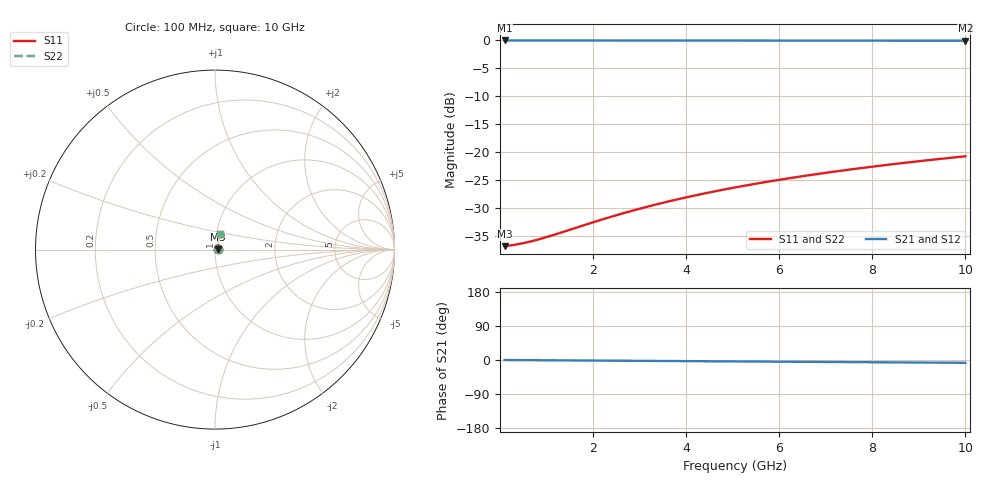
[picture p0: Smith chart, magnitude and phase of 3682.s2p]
# Hz S RI R 50.00
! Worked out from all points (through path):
!   100 points, 100 MHz to 10 GHz, reference 50 ohm
!   highest |S21| = -0.13 dB at 100 MHz (marker M1); lowest = -0.2 dB at 10 GHz (marker M2)
!   group delay of S21, straight-line fit = 2.06 ps
!   lowest |S11| = -36.9 dB at 100 MHz (marker M3), VSWR 1.03, Z = 51.5 + j0.0909 ohm
!   |S11| at or under -10 dB: start of sweep to end of sweep
!   |S22| runs from -36.9 to -20.8 dB; largest |S21 - S12| = 0
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1e8  0.0143 0.000883  0.9857 -0.00128  0.9857 -0.00128  0.0143 0.000883
3e8  0.0145 0.00265  0.9855 -0.00383  0.9855 -0.00383  0.0145 0.00265
4e8  0.0145 0.00353  0.9855 -0.00511  0.9855 -0.00511  0.0145 0.00353
6e8  0.0147 0.0053  0.9853 -0.00766  0.9853 -0.00766  0.0147 0.0053
8e8  0.0148 0.00706  0.9852 -0.0102  0.9852 -0.0102  0.0148 0.00706
1.2e9  0.015 0.0106  0.985 -0.0153  0.985 -0.0153  0.015 0.0106
1.8e9  0.0153 0.0159  0.9847 -0.023  0.9847 -0.023  0.0153 0.0159
2.2e9  0.0155 0.0194  0.9844 -0.0281  0.9844 -0.0281  0.0155 0.0194
2.6e9  0.0158 0.0229  0.9841 -0.0332  0.9841 -0.0332  0.0158 0.0229
3e9  0.0161 0.0264  0.9838 -0.0383  0.9838 -0.0383  0.0161 0.0264
3.4e9  0.0164 0.0299  0.9834 -0.0433  0.9834 -0.0433  0.0164 0.0299
3.8e9  0.0168 0.0334  0.9831 -0.0484  0.9831 -0.0484  0.0168 0.0334
4.2e9  0.0172 0.0369  0.9826 -0.0535  0.9826 -0.0535  0.0172 0.0369
4.6e9  0.0177 0.0404  0.9822 -0.0586  0.9822 -0.0586  0.0177 0.0404
5.1e9  0.0183 0.0448  0.9815 -0.0649  0.9815 -0.0649  0.0183 0.0448
5.5e9  0.0188 0.0483  0.981 -0.07  0.981 -0.07  0.0188 0.0483
5.9e9  0.0193 0.0518  0.9804 -0.075  0.9804 -0.075  0.0193 0.0518
6.7e9  0.0205 0.0587  0.9791 -0.0851  0.9791 -0.0851  0.0205 0.0587
7.5e9  0.0219 0.0656  0.9776 -0.0952  0.9776 -0.0952  0.0219 0.0656
8.4e9  0.0236 0.0733  0.9758 -0.1065  0.9758 -0.1065  0.0236 0.0733
9.2e9  0.0252 0.0801  0.9741 -0.1165  0.9741 -0.1165  0.0252 0.0801
1e10  0.027 0.0869  0.9722 -0.1264  0.9722 -0.1264  0.027 0.0869
